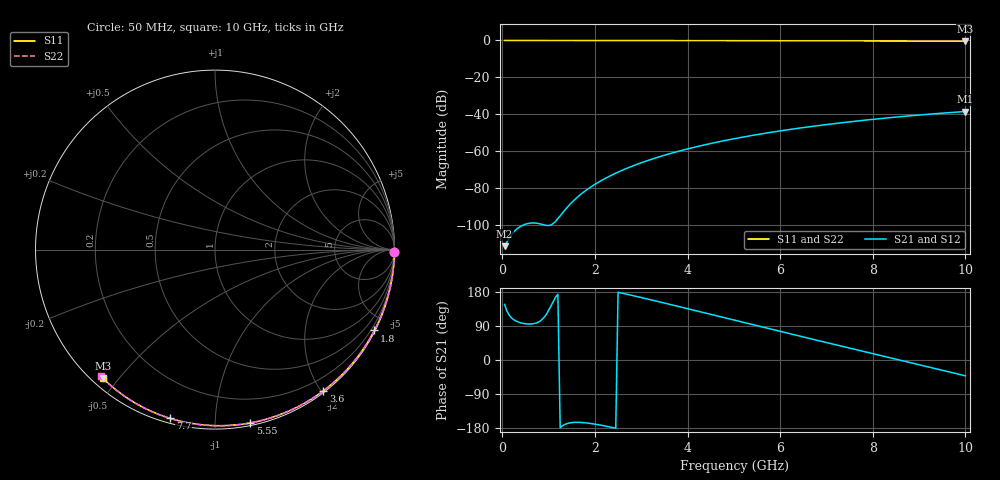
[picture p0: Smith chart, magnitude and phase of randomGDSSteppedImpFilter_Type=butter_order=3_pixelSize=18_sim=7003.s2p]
! freq	dB(S11)	phase(S11)	dB(S12)	phase(S12)
!  dB(S21)	phase(S21)	dB(S22)	phase(S22)
!S-par simulation data
#  GHz  S  DB  R 50
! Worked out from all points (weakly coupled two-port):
!   200 points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, 50 MHz to 10 GHz, reference 50 ohm
!   highest |S21| = -38.54 dB at 10 GHz (marker M1); lowest = -111.6 dB at 50 MHz (marker M2)
!   lowest |S11| = -0.4 dB at 10 GHz (marker M3), VSWR 39.12, Z = 1.54 - j22.7 ohm
!   |S11| at or under -10 dB: nowhere
!   |S22| runs from -0.5 to 0.0 dB; largest |S21 - S12| = 0
!   S11 on the Smith chart (normalised r, x): 50 MHz: open; 1.8 GHz: 0.04, -4.18; 3.6 GHz: 0.02, -2.02; 5.55 GHz: 0.02, -1.22; 7.7 GHz: 0.02, -0.77; 10 GHz: 0.03, -0.45
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0.05  -0.00 -0.8  -111.58 146.6  -111.58 146.6  -0.00 -0.8
0.9  -0.02 -13.6  -100.08 112.5  -100.08 112.5  -0.02 -13.7
1.75  -0.03 -26.2  -82.37 -165.2  -82.37 -165.2  -0.03 -26.3
1.8  -0.03 -26.9  -81.42 -165.8  -81.42 -165.8  -0.03 -27.1
1.85  -0.04 -27.6  -80.53 -166.5  -80.53 -166.5  -0.04 -27.8
1.9  -0.04 -28.3  -79.66 -167.4  -79.66 -167.4  -0.04 -28.5
2.05  -0.04 -30.5  -77.27 -170.3  -77.27 -170.3  -0.04 -30.7
2.25  -0.04 -33.4  -74.46 -174.9  -74.46 -174.9  -0.04 -33.7
2.45  -0.05 -36.3  -71.98 -179.9  -71.98 -179.9  -0.05 -36.6
2.65  -0.05 -39.2  -69.76 174.7  -69.76 174.7  -0.05 -39.5
3  -0.06 -44.2  -66.35 164.9  -66.35 164.9  -0.06 -44.5
3.4  -0.07 -49.8  -63.01 153.2  -63.01 153.2  -0.07 -50.1
3.6  -0.07 -52.6  -61.53 147.4  -61.53 147.4  -0.07 -52.9
4.3  -0.09 -62.1  -57.01 126.5  -57.01 126.5  -0.09 -62.5
5.05  -0.11 -72.1  -53.08 104.0  -53.08 104.0  -0.11 -72.5
5.55  -0.13 -78.5  -50.85 89.0  -50.85 89.0  -0.13 -79.0
6.1  -0.15 -85.5  -48.67 72.6  -48.67 72.6  -0.15 -86.0
6.7  -0.18 -92.9  -46.58 54.8  -46.58 54.8  -0.18 -93.5
7.7  -0.24 -104.9  -43.59 25.5  -43.59 25.5  -0.24 -105.5
8.35  -0.29 -112.4  -41.92 6.6  -41.92 6.6  -0.29 -113.1
9.15  -0.36 -121.6  -40.13 -16.8  -40.13 -16.8  -0.36 -122.3
10  -0.44 -131.2  -38.54 -41.9  -38.54 -41.9  -0.45 -132.0
